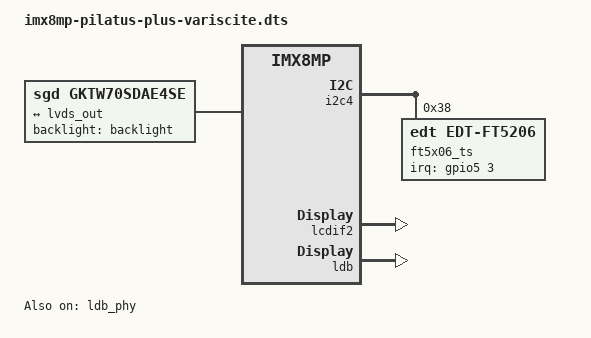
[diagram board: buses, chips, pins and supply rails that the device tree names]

/*
 * Copyright 2022 Bruetsch Elektronik AG
 */

#include "imx8mp-pilatus-plus.dts"


/ {
	panel: panel {
		compatible = "sgd,gktw70sdae4se", "panel-lvds";
		backlight = <&backlight>;
		width-mm = <153>;
		height-mm = <87>;
		label = "gktw70sdae4se";
		data-mapping = "jeida-24";
		status = "okay";

		panel-timing {
			clock-frequency = <33000000>;
			hactive = <800>;
			vactive = <480>;
			hback-porch = <40>;
			hfront-porch = <40>;
			vback-porch = <29>;
			vfront-porch = <13>;
			hsync-len = <48>;
			vsync-len = <3>;
			hsync-active = <0>;
			vsync-active = <0>;
			de-active = <1>;
		};

		port {
			panel_in: endpoint {
				remote-endpoint = <&lvds_out>;
			};
		};
	};
};

&i2c4 {
	/* Capacitive touch controller */
	ft5x06_ts: ft5x06_ts@38 {
		compatible = "edt,edt-ft5206";
		reg = <0x38>;
		pinctrl-names = "default";
		pinctrl-0 = <&pinctrl_captouch>;
		interrupt-parent = <&gpio5>;
		interrupts = <3 IRQ_TYPE_EDGE_FALLING>;
		touchscreen-size-x = <800>;
		touchscreen-size-y = <480>;
		touchscreen-inverted-x;
		touchscreen-inverted-y;
		wakeup-source;
		status = "okay";
	};
};

/* MIPI-DSI */
&lcdif1 {
	status = "disabled";
};

/* LVDS */
&lcdif2 {
	status = "okay";
};

&ldb {
	status = "okay";

	lvds-channel@0 {
		fsl,data-mapping = "jeida";
		fsl,data-width = <24>;
		status = "okay";

		port@1 {
			reg = <1>;

			lvds_out: endpoint {
				remote-endpoint = <&panel_in>;
			};
		};
	};
};

&ldb_phy {
	status = "okay";
};

&mipi_dsi {
	status = "disabled";
};

&iomuxc {
	pinctrl_captouch: captouchgrp {
		fsl,pins = <
			MX8MP_IOMUXC_SPDIF_TX__GPIO5_IO03 				0x16
		>;
	};
};
